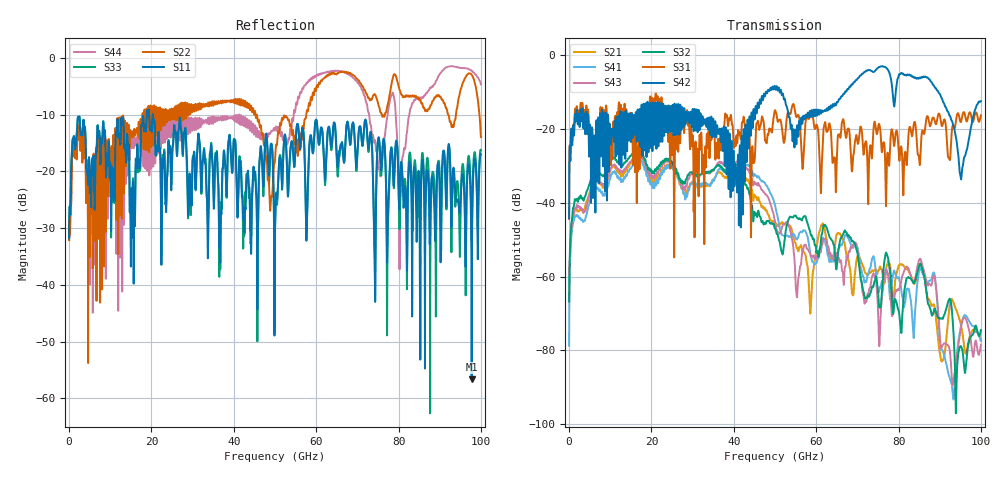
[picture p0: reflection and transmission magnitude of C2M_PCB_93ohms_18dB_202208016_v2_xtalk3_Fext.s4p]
! Info: Touchstone file created by Circ.  Input file=Intel_C2M_200G_6p0in_202208016_staggered.circ
# Hz S RI R 50
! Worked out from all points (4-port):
!   10000 points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, 10 MHz to 100 GHz, reference 50 ohm
!   strongest paths, dB at 10 MHz, 25.01 GHz, 50.01 GHz, 75.01 GHz, 100 GHz:
!     S42: -44.2, -16.4, -8.6, -3.4, -12.4
!     S31: -44.3, -26.5, -14.9, -19.8, -16.2
!     S32: -66.7, -28.8, -47.0, -63.9, -74.5
!     S43: -66.6, -29.0, -45.0, -68.8, -78.5
!     S41: -78.7, -30.3, -40.7, -63.7, -77.4
!     S21: -64.6, -30.5, -45.6, -58.4, -77.5
!   lowest |S11| = -56.6 dB at 97.76 GHz (marker M1), VSWR 1.00, Z = 50.1 - j0.0534 ohm
!   |S11| at or under -10 dB: start of sweep to 18.85 GHz; 19.45 GHz to 20.3 GHz (850.3 MHz wide, 4.28 % of centre); 20.37 GHz to end of sweep
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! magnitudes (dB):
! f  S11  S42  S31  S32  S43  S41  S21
! 10 MHz  -31.8  -44.2  -44.3  -66.7  -66.6  -78.7  -64.6
! 1.39 GHz  -15.7  -16.7  -15.4  -39.0  -41.6  -43.8  -41.9
! 16.82 GHz  -19.3  -19.7  -25.6  -25.5  -26.7  -28.0  -27.0
! 66.32 GHz  -15.2  -11.1  -18.0  -48.9  -58.5  -51.2  -49.6
! 80.32 GHz  -22.9  -5.1  -27.5  -71.9  -62.7  -61.6  -56.7
! 97.76 GHz  -56.6  -18.6  -17.0  -76.0  -79.2  -73.2  -74.9
! 100 GHz  -16.9  -12.4  -16.2  -74.5  -78.5  -77.4  -77.5
